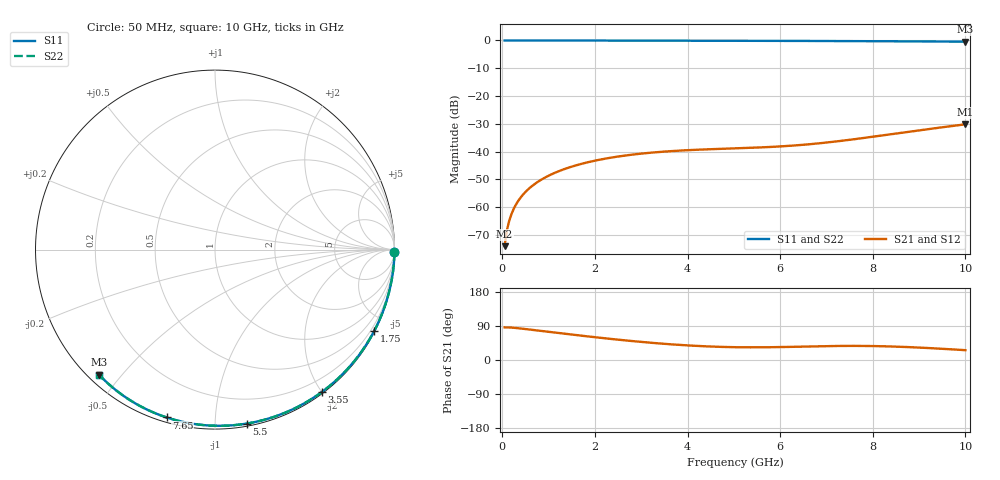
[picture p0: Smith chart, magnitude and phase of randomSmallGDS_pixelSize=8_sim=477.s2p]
! freq	dB(S11)	phase(S11)	dB(S12)	phase(S12)
!  dB(S21)	phase(S21)	dB(S22)	phase(S22)
!S-par simulation data
#  GHz  S  DB  R 50
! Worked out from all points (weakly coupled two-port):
!   200 points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, 50 MHz to 10 GHz, reference 50 ohm
!   highest |S21| = -30.18 dB at 10 GHz (marker M1); lowest = -74.0 dB at 50 MHz (marker M2)
!   lowest |S11| = -0.4 dB at 10 GHz (marker M3), VSWR 39.46, Z = 1.51 - j21.8 ohm
!   |S11| at or under -10 dB: nowhere
!   |S22| runs from -0.4 to 0.0 dB; largest |S21 - S12| = 0
!   S11 on the Smith chart (normalised r, x): 50 MHz: open; 1.75 GHz: 0.04, -4.18; 3.55 GHz: 0.02, -1.99; 5.5 GHz: 0.02, -1.20; 7.65 GHz: 0.02, -0.75; 10 GHz: 0.03, -0.44
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0.05  -0.00 -0.8  -74.03 86.1  -74.03 86.1  -0.00 -0.8
0.1  -0.00 -1.6  -68.29 86.0  -68.29 86.0  -0.00 -1.6
0.15  -0.00 -2.3  -64.86 85.9  -64.86 85.9  -0.00 -2.3
0.2  -0.00 -3.1  -62.40 85.5  -62.40 85.5  -0.00 -3.1
0.25  -0.00 -3.9  -60.48 85.0  -60.48 85.0  -0.00 -3.9
0.35  -0.00 -5.5  -57.59 83.8  -57.59 83.8  -0.00 -5.5
0.5  -0.01 -7.8  -54.53 81.7  -54.53 81.7  -0.01 -7.8
0.7  -0.01 -10.9  -51.66 78.8  -51.66 78.8  -0.01 -10.9
1  -0.02 -15.5  -48.67 74.4  -48.67 74.4  -0.02 -15.5
1.35  -0.03 -20.9  -46.23 69.3  -46.23 69.3  -0.03 -20.9
1.75  -0.03 -26.9  -44.23 63.6  -44.23 63.6  -0.03 -26.9
2.5  -0.05 -38.1  -41.77 53.6  -41.77 53.6  -0.05 -38.1
3.4  -0.07 -51.1  -40.12 43.6  -40.12 43.6  -0.07 -51.1
3.55  -0.07 -53.2  -39.93 42.2  -39.93 42.2  -0.07 -53.3
4.3  -0.09 -63.7  -39.26 36.6  -39.26 36.6  -0.09 -63.7
5.05  -0.11 -73.8  -38.82 33.7  -38.82 33.7  -0.11 -73.8
5.5  -0.13 -79.6  -38.55 33.4  -38.55 33.4  -0.13 -79.6
6.7  -0.18 -94.7  -37.25 35.9  -37.25 35.9  -0.18 -94.7
7.65  -0.24 -106.1  -35.43 37.2  -35.43 37.2  -0.24 -106.1
8.35  -0.29 -114.2  -33.85 35.9  -33.85 35.9  -0.29 -114.3
9.15  -0.35 -123.3  -32.02 31.9  -32.02 31.9  -0.36 -123.4
10  -0.44 -132.8  -30.18 25.9  -30.18 25.9  -0.44 -132.9
